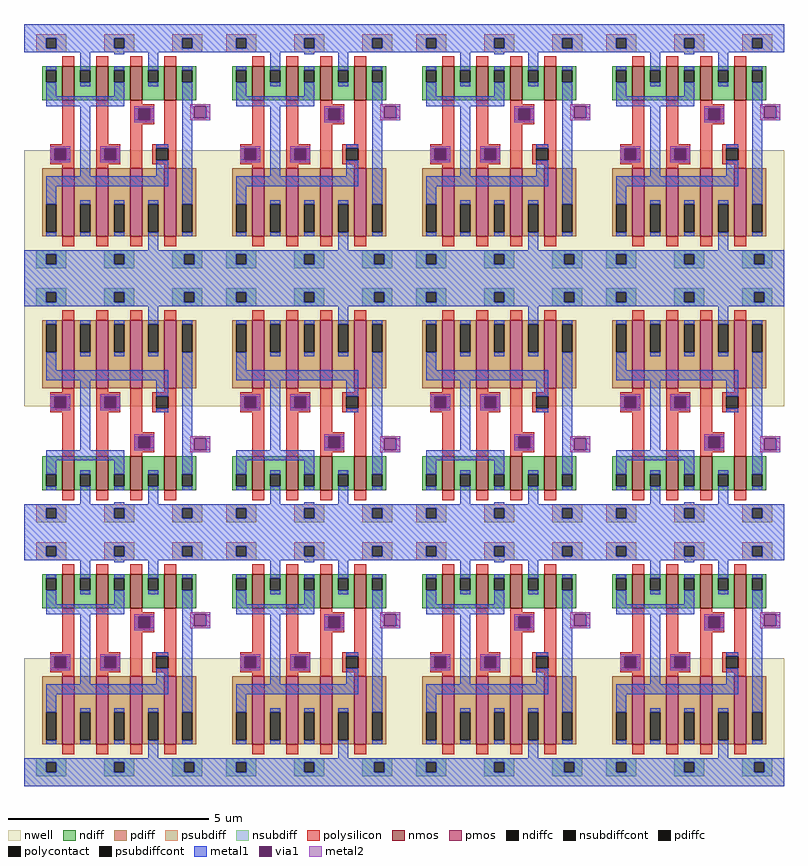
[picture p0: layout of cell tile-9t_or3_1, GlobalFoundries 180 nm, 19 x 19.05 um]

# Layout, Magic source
magic
tech gf180mcuD
use gf180mcu_osu_sc_gp9t3v3__or3_1  gf180mcu_osu_sc_gp9t3v3__or3_1_0
transform 1 0 -105 0 1 0
box 105 0 200 127
use gf180mcu_osu_sc_gp9t3v3__or3_1  gf180mcu_osu_sc_gp9t3v3__or3_1_1
transform 1 0 -10 0 1 0
box 105 0 200 127
use gf180mcu_osu_sc_gp9t3v3__or3_1  gf180mcu_osu_sc_gp9t3v3__or3_1_2
transform 1 0 85 0 1 0
box 105 0 200 127
use gf180mcu_osu_sc_gp9t3v3__or3_1  gf180mcu_osu_sc_gp9t3v3__or3_1_3
transform 1 0 -200 0 1 0
box 105 0 200 127
use gf180mcu_osu_sc_gp9t3v3__or3_1  gf180mcu_osu_sc_gp9t3v3__or3_1_4
transform 1 0 -200 0 -1 254
box 105 0 200 127
use gf180mcu_osu_sc_gp9t3v3__or3_1  gf180mcu_osu_sc_gp9t3v3__or3_1_5
transform 1 0 -105 0 -1 254
box 105 0 200 127
use gf180mcu_osu_sc_gp9t3v3__or3_1  gf180mcu_osu_sc_gp9t3v3__or3_1_6
transform 1 0 -10 0 -1 254
box 105 0 200 127
use gf180mcu_osu_sc_gp9t3v3__or3_1  gf180mcu_osu_sc_gp9t3v3__or3_1_7
transform 1 0 85 0 -1 254
box 105 0 200 127
use gf180mcu_osu_sc_gp9t3v3__or3_1  gf180mcu_osu_sc_gp9t3v3__or3_1_8
transform 1 0 -200 0 -1 0
box 105 0 200 127
use gf180mcu_osu_sc_gp9t3v3__or3_1  gf180mcu_osu_sc_gp9t3v3__or3_1_9
transform 1 0 -105 0 -1 0
box 105 0 200 127
use gf180mcu_osu_sc_gp9t3v3__or3_1  gf180mcu_osu_sc_gp9t3v3__or3_1_10
transform 1 0 -10 0 -1 0
box 105 0 200 127
use gf180mcu_osu_sc_gp9t3v3__or3_1  gf180mcu_osu_sc_gp9t3v3__or3_1_11
transform 1 0 85 0 -1 0
box 105 0 200 127
<< end >>

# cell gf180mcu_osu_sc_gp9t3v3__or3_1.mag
magic
tech gf180mcuD
<< nwell >>
rect 105 63 200 127
<< nmos >>
rect 124 21 130 38
rect 141 21 147 38
rect 158 21 164 38
rect 175 21 181 38
<< pmos >>
rect 124 72 130 106
rect 141 72 147 106
rect 158 72 164 106
rect 175 72 181 106
<< ndiff >>
rect 114 29 124 38
rect 114 23 116 29
rect 121 23 124 29
rect 114 21 124 23
rect 130 29 141 38
rect 130 23 133 29
rect 138 23 141 29
rect 130 21 141 23
rect 147 29 158 38
rect 147 23 150 29
rect 155 23 158 29
rect 147 21 158 23
rect 164 29 175 38
rect 164 23 167 29
rect 172 23 175 29
rect 164 21 175 23
rect 181 29 191 38
rect 181 23 184 29
rect 189 23 191 29
rect 181 21 191 23
<< pdiff >>
rect 114 104 124 106
rect 114 90 116 104
rect 121 90 124 104
rect 114 72 124 90
rect 130 104 141 106
rect 130 90 133 104
rect 138 90 141 104
rect 130 72 141 90
rect 147 104 158 106
rect 147 90 150 104
rect 155 90 158 104
rect 147 72 158 90
rect 164 104 175 106
rect 164 90 167 104
rect 172 90 175 104
rect 164 72 175 90
rect 181 104 191 106
rect 181 90 184 104
rect 189 90 191 104
rect 181 72 191 90
<< ndiffc >>
rect 116 23 121 29
rect 133 23 138 29
rect 150 23 155 29
rect 167 23 172 29
rect 184 23 189 29
<< pdiffc >>
rect 116 90 121 104
rect 133 90 138 104
rect 150 90 155 104
rect 167 90 172 104
rect 184 90 189 104
<< psubdiff >>
rect 111 12 126 14
rect 111 7 116 12
rect 121 7 126 12
rect 111 5 126 7
rect 145 12 160 14
rect 145 7 150 12
rect 155 7 160 12
rect 145 5 160 7
rect 179 12 194 14
rect 179 7 184 12
rect 189 7 194 12
rect 179 5 194 7
<< nsubdiff >>
rect 111 120 126 122
rect 111 115 116 120
rect 121 115 126 120
rect 111 113 126 115
rect 145 120 160 122
rect 145 115 150 120
rect 155 115 160 120
rect 145 113 160 115
rect 179 120 194 122
rect 179 115 185 120
rect 190 115 194 120
rect 179 113 194 115
<< psubdiffcont >>
rect 116 7 121 12
rect 150 7 155 12
rect 184 7 189 12
<< nsubdiffcont >>
rect 116 115 121 120
rect 150 115 155 120
rect 185 115 190 120
<< polysilicon >>
rect 124 106 130 111
rect 141 106 147 111
rect 158 106 164 111
rect 175 106 181 111
rect 124 70 130 72
rect 118 68 130 70
rect 118 62 120 68
rect 126 62 130 68
rect 118 60 130 62
rect 124 38 130 60
rect 141 70 147 72
rect 141 68 153 70
rect 141 62 145 68
rect 151 62 153 68
rect 141 60 153 62
rect 141 38 147 60
rect 158 50 164 72
rect 175 70 181 72
rect 169 68 181 70
rect 169 62 171 68
rect 177 62 181 68
rect 169 60 181 62
rect 158 48 170 50
rect 158 42 162 48
rect 168 42 170 48
rect 158 40 170 42
rect 158 38 164 40
rect 175 38 181 60
rect 124 16 130 21
rect 141 16 147 21
rect 158 16 164 21
rect 175 16 181 21
<< polycontact >>
rect 120 62 126 68
rect 145 62 151 68
rect 171 62 177 68
rect 162 42 168 48
<< metal1 >>
rect 105 120 200 127
rect 105 115 116 120
rect 121 115 150 120
rect 155 115 185 120
rect 190 115 200 120
rect 105 113 200 115
rect 116 104 121 106
rect 116 81 121 90
rect 133 104 138 106
rect 133 88 138 90
rect 150 104 155 106
rect 150 88 155 90
rect 167 104 172 113
rect 167 88 172 90
rect 184 104 189 106
rect 116 76 177 81
rect 118 62 120 68
rect 126 62 128 68
rect 133 41 138 76
rect 171 68 177 76
rect 143 62 145 68
rect 151 62 153 68
rect 171 60 177 62
rect 160 42 162 48
rect 168 42 170 48
rect 184 47 189 90
rect 184 41 190 47
rect 196 41 198 47
rect 116 36 155 41
rect 116 29 121 36
rect 116 21 121 23
rect 133 29 138 31
rect 133 14 138 23
rect 150 29 155 36
rect 150 21 155 23
rect 167 29 172 31
rect 150 14 155 15
rect 167 14 172 23
rect 184 29 189 41
rect 184 21 189 23
rect 105 12 200 14
rect 105 7 116 12
rect 121 7 150 12
rect 155 7 184 12
rect 189 7 200 12
rect 105 0 200 7
<< via1 >>
rect 120 62 126 68
rect 145 62 151 68
rect 162 42 168 48
rect 190 41 196 47
<< metal2 >>
rect 118 68 128 69
rect 118 62 120 68
rect 126 62 128 68
rect 118 61 128 62
rect 143 68 153 69
rect 143 62 145 68
rect 151 62 153 68
rect 143 61 153 62
rect 160 48 170 49
rect 160 42 162 48
rect 168 42 170 48
rect 160 41 170 42
rect 188 47 198 48
rect 188 41 190 47
rect 196 41 198 47
rect 188 40 198 41
<< labels >>
rlabel nsubdiffcont 116 115 121 120 1 VDD
rlabel nsubdiffcont 150 115 155 120 1 VDD
rlabel nsubdiffcont 185 115 190 120 1 VDD
rlabel psubdiffcont 116 7 121 12 1 VSS
rlabel psubdiffcont 150 7 155 12 1 VSS
rlabel psubdiffcont 184 7 189 12 1 VSS
rlabel metal2 120 62 126 68 1 A
rlabel metal2 145 62 151 68 1 B
rlabel via1 190 41 196 47 1 Y
rlabel metal2 162 42 168 48 1 C
rlabel pdiffc 133 90 138 104 1 net2
rlabel ndiffc 116 23 121 29 1 net3
rlabel pdiffc 150 90 155 104 1 net1
<< end >>
